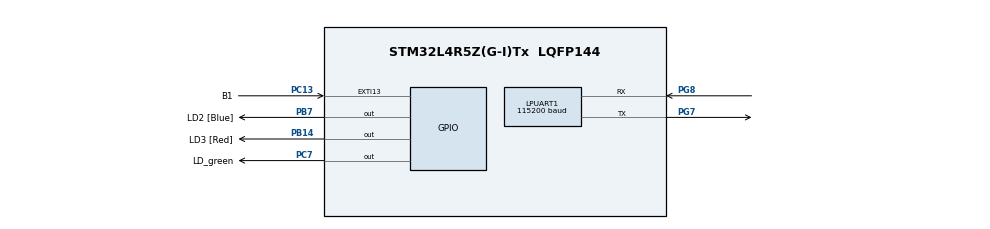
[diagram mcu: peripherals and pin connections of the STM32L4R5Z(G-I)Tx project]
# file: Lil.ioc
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Dma.LPUART1_RX.0.Direction=DMA_PERIPH_TO_MEMORY
Dma.LPUART1_RX.0.EventEnable=DISABLE
Dma.LPUART1_RX.0.Instance=DMA1_Channel1
Dma.LPUART1_RX.0.MemDataAlignment=DMA_MDATAALIGN_BYTE
Dma.LPUART1_RX.0.MemInc=DMA_MINC_ENABLE
Dma.LPUART1_RX.0.Mode=DMA_NORMAL
Dma.LPUART1_RX.0.PeriphDataAlignment=DMA_PDATAALIGN_BYTE
Dma.LPUART1_RX.0.PeriphInc=DMA_PINC_DISABLE
Dma.LPUART1_RX.0.Polarity=HAL_DMAMUX_REQUEST_GEN_RISING
Dma.LPUART1_RX.0.Priority=DMA_PRIORITY_LOW
Dma.LPUART1_RX.0.RequestNumber=1
Dma.LPUART1_RX.0.SignalID=NONE
Dma.LPUART1_RX.0.SyncEnable=DISABLE
Dma.LPUART1_RX.0.SyncPolarity=HAL_DMAMUX_SYNC_NO_EVENT
Dma.LPUART1_RX.0.SyncRequestNumber=1
Dma.LPUART1_RX.0.SyncSignalID=NONE
Dma.LPUART1_TX.1.Direction=DMA_MEMORY_TO_PERIPH
Dma.LPUART1_TX.1.EventEnable=DISABLE
Dma.LPUART1_TX.1.Instance=DMA1_Channel2
Dma.LPUART1_TX.1.MemDataAlignment=DMA_MDATAALIGN_BYTE
Dma.LPUART1_TX.1.MemInc=DMA_MINC_ENABLE
Dma.LPUART1_TX.1.Mode=DMA_NORMAL
Dma.LPUART1_TX.1.PeriphDataAlignment=DMA_PDATAALIGN_BYTE
Dma.LPUART1_TX.1.PeriphInc=DMA_PINC_DISABLE
Dma.LPUART1_TX.1.Polarity=HAL_DMAMUX_REQUEST_GEN_RISING
Dma.LPUART1_TX.1.Priority=DMA_PRIORITY_LOW
Dma.LPUART1_TX.1.RequestNumber=1
Dma.LPUART1_TX.1.SignalID=NONE
Dma.LPUART1_TX.1.SyncEnable=DISABLE
Dma.LPUART1_TX.1.SyncPolarity=HAL_DMAMUX_SYNC_NO_EVENT
Dma.LPUART1_TX.1.SyncRequestNumber=1
Dma.LPUART1_TX.1.SyncSignalID=NONE
Dma.Request0=LPUART1_RX
Dma.Request1=LPUART1_TX
LPUART1.BaudRate=115200
LPUART1.WordLength=UART_WORDLENGTH_8B
Mcu.Family=STM32L4
Mcu.Name=STM32L4R5Z(G-I)Tx
Mcu.Package=LQFP144
NVIC.DMA1_Channel1_IRQn=true\:0\:0\:false\:false\:true\:false\:true\:true
NVIC.DMA1_Channel2_IRQn=true\:0\:0\:false\:false\:true\:false\:true\:true
NVIC.LPUART1_IRQn=true\:0\:0\:false\:false\:true\:true\:true\:true
NVIC.PriorityGroup=NVIC_PRIORITYGROUP_4
PB14.GPIO_Label=LD3 [Red]
PB14.Signal=GPIO_Output
PB7.GPIO_Label=LD2 [Blue]
PB7.Signal=GPIO_Output
PC13.GPIO_Label=B1
PC13.Signal=GPXTI13
PC7.GPIO_Label=LD_green
PC7.Signal=GPIO_Output
PG7.Mode=Asynchronous
PG7.Signal=LPUART1_TX
PG8.Mode=Asynchronous
PG8.Signal=LPUART1_RX
ProjectManager.HeapSize=0x200
ProjectManager.StackSize=0x400
ProjectManager.TargetToolchain=STM32CubeIDE
RCC.HSE_VALUE=8000000
RCC.HSI48_VALUE=48000000
RCC.HSI_VALUE=16000000
RCC.LSE_VALUE=32768
RCC.MSI_VALUE=4000000
RCC.VCOOutputFreq_Value=32000000
board=custom

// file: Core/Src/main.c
/* USER CODE BEGIN Header */
/**
 ******************************************************************************
 * @file           : main.c
 * @brief          : Main program body
 ******************************************************************************
 * @attention
 *
 * Copyright (c) 2025 STMicroelectronics.
 * All rights reserved.
 *
 * This software is licensed under terms that can be found in the LICENSE file
 * in the root directory of this software component.
 * If no LICENSE file comes with this software, it is provided AS-IS.
 *
 ******************************************************************************
 */
/* USER CODE END Header */
#include "main.h"

/* USER CODE BEGIN Includes */
#include <stdbool.h>
#include <stdint.h>
#include <stdio.h>
#include <string.h>
/* USER CODE END Includes */

/* USER CODE BEGIN PTD */

typedef enum {
  STATE_INITIAL,      // Stav 1 - červená bliká 250ms, modrá 500ms
  STATE_BUTTON_TOGGLE,// Stav 2 - červená toggle, modrá bliká 100ms
  STATE_TRANSITIONAL, // Stav pro detekci dlouhého stisku
  STATE_CUSTOM_PERIOD, // Stav 4 - červená bliká s periodou podle délky stisku, modrá 100ms svítí/400ms nesvítí
  STATE_BLINK_COMMAND  // Nový stav pro příkaz BLIK
} StavAplikace;

typedef enum {
  LED_MODE_OFF,       // LED je trvale vypnutá
  LED_MODE_ON,        // LED je trvale zapnutá
  LED_MODE_BLINK,     // LED bliká s definovanou periodou
  LED_MODE_BLINK_ASYM // LED bliká s asymetrickou periodou (jen modrá ve stavu 4)
} LEDMode;

typedef struct {
  GPIO_TypeDef* port;
  uint16_t pin;
  LEDMode mode;
  uint32_t blinkPeriod;
  uint32_t lastToggleTime;
  bool state;
  uint32_t onTime;     // Doba zapnutí (pro asymetrické blikání)
  uint32_t offTime;    // Doba vypnutí (pro asymetrické blikání)
} Led;
/* USER CODE END PTD */

/* USER CODE BEGIN PD */
#define BTN_FILTER          (50)      // Filtr zákmitů tlačítka v ms
#define LONG_PRESS_DURATION (1000)    // Minimální doba pro dlouhý stisk v ms
#define UART_RX_BUFFER_SIZE (128)     // Velikost bufferu pro příjem UART
#define MAX_COMMAND_LENGTH  (20)      // Maximální délka příkazu
/* USER CODE END PD */

UART_HandleTypeDef hlpuart1;
DMA_HandleTypeDef hdma_lpuart1_rx;
DMA_HandleTypeDef hdma_lpuart1_tx;

/* USER CODE BEGIN PV */
volatile bool transmissionComplete = false;
char testString[100 + 1]; // jeden znak navic pro ukoncovaci znak
char outputBuffer[200]; // buffer pro vystupni znaky

// UART příjem
uint8_t uartRxBuffer[UART_RX_BUFFER_SIZE];
uint8_t uartRxChar;
char commandBuffer[MAX_COMMAND_LENGTH + 1];
uint8_t commandLength = 0;
volatile bool commandReady = false;

// Stav aplikace
StavAplikace currentState = STATE_INITIAL;
uint32_t buttonPressTime = 0;
uint32_t buttonReleaseTime = 0;
bool buttonPressed = false;
uint32_t lastButtonDebounceTime = 0;
bool lastButtonState = false;
uint32_t customBlinkPeriod = 500; // Výchozí perioda pro vlastní blikání

// Definice LED
Led redLed = {
  .port = LD3_GPIO_Port,
  .pin = LD3_Pin,
  .mode = LED_MODE_BLINK,
  .blinkPeriod = 250,
  .lastToggleTime = 0,
  .state = false
};

Led blueLed = {
  .port = LD2_GPIO_Port,
  .pin = LD2_Pin,
  .mode = LED_MODE_BLINK,
  .blinkPeriod = 500,
  .lastToggleTime = 0,
  .state = false,
  .onTime = 100,  // Pro asymetrické blikání
  .offTime = 400  // Pro asymetrické blikání
};

Led greenLed = {
  .port = GPIOC,
  .pin = GPIO_PIN_7,
  .mode = LED_MODE_OFF,
  .blinkPeriod = 500,
  .lastToggleTime = 0,
  .state = false
};
/* USER CODE END PV */

void SystemClock_Config(void);
static void MX_GPIO_Init(void);
static void MX_LPUART1_UART_Init(void);
static void MX_DMA_Init(void);
/* USER CODE BEGIN PFP */
void generaceStringuStoZnaku(void);
void spustTest(int mode);
void updateLed(Led* led, uint32_t currentTime);
void handleButton(uint32_t currentTime);
void sendUartMessage(const char* message);
void processCommand(void);
void startUartRxInterrupt(void);
/* USER CODE END PFP */

/* USER CODE BEGIN 0 */

// Callback function for UART transmission complete
void HAL_UART_TxCpltCallback(UART_HandleTypeDef *huart)
{
  if (huart->Instance == LPUART1) {
    transmissionComplete = true;
  }
}

// Callback function for UART reception complete
void HAL_UART_RxCpltCallback(UART_HandleTypeDef *huart)
{
  if (huart->Instance == LPUART1) {
    // Echo received character
    HAL_UART_Transmit_IT(&hlpuart1, &uartRxChar, 1);

    // Process received character
    if (uartRxChar == '\r' || uartRxChar == '\n') {
      if (commandLength > 0) {
        commandBuffer[commandLength] = '\0';
        commandReady = true;
        commandLength = 0;
      }
    } else if (commandLength < MAX_COMMAND_LENGTH) {
      commandBuffer[commandLength++] = uartRxChar;
    }

    // Start listening for next character
    HAL_UART_Receive_IT(&hlpuart1, &uartRxChar, 1);
  }
}

// Funkce pro generaci stringu o 100 znaku
void generaceStringuStoZnaku(void)
{
  const char charset[] = "ABCDEFGHIJKLMNOPQRSTUVWXYZabcdefghijklmnopqrstuvwxyz0123456789!@#$%^&*()";
  const int charsetSize = strlen(charset);

  for (int i = 0; i < 100; i++) {
    testString[i] = charset[i % charsetSize];
  }
  testString[100] = '\0'; // Null terminate

}

// Spusteni prenosoveho testu v specifickem modu
// mody: 0 = Polling, 1 = Interrupt, 2 = DMA
void spustTest(int mode)
{
  uint32_t startTime, endTime, duration;
  uint32_t blinkCount = 0;
  const char* modeStr;

  // Set mode string
  switch (mode) {
    case 0: modeStr = "Polling"; break;
    case 1: modeStr = "Interrupt"; break;
    case 2: modeStr = "DMA"; break;
    default: modeStr = "jak ses sem dostal?";
  }

  // reset flag
  transmissionComplete = false;

  // pocatek prenosu
  startTime = HAL_GetTick();

  switch (mode) {
    case 0: // Polling
      HAL_UART_Transmit(&hlpuart1, (uint8_t*)testString, 100, 1000);
      transmissionComplete = true; // nastaveno manualne, protoze se nezavola callback
      break;
    case 1: // Interrupt
      HAL_UART_Transmit_IT(&hlpuart1, (uint8_t*)testString, 100);
      break;
    case 2: // DMA
      HAL_UART_Transmit_DMA(&hlpuart1, (uint8_t*)testString, 100);
      break;
  }

  // blikani led fast a spocteni bliku
  while (!transmissionComplete) {
    HAL_GPIO_TogglePin(LD3_GPIO_Port, LD3_Pin);
    blinkCount++;
  }

  // zaznam konce
  endTime = HAL_GetTick();
  duration = endTime - startTime;

  // krasne formatovani vysledku:)
  sprintf(outputBuffer,
          "\r\nMode: %s\r\nStart time: %lu ms\r\nDuration: %lu ms\r\nBlink count: %lu\r\n",
          modeStr, startTime, duration, blinkCount);

  // Odeslani vysledku
  HAL_UART_Transmit(&hlpuart1, (uint8_t*)outputBuffer, strlen(outputBuffer), 1000);

  // delay mezi testiky
  HAL_Delay(500);
}

// Aktualizace stavu LED
void updateLed(Led* led, uint32_t currentTime)
{
  if (led->mode == LED_MODE_OFF) {
    // LED je trvale vypnutá
    if (led->state) {
      HAL_GPIO_WritePin(led->port, led->pin, GPIO_PIN_RESET);
      led->state = false;
    }
  }
  else if (led->mode == LED_MODE_ON) {
    // LED je trvale zapnutá
    if (!led->state) {
      HAL_GPIO_WritePin(led->port, led->pin, GPIO_PIN_SET);
      led->state = true;
    }
  }
  else if (led->mode == LED_MODE_BLINK) {
    // LED bliká se symetrickou periodou
    if (currentTime - led->lastToggleTime >= led->blinkPeriod / 2) {
      led->state = !led->state;
      HAL_GPIO_WritePin(led->port, led->pin, led->state ? GPIO_PIN_SET : GPIO_PIN_RESET);
      led->lastToggleTime = currentTime;
    }
  }
  else if (led->mode == LED_MODE_BLINK_ASYM) {
    // LED bliká s asymetrickou periodou
    uint32_t interval = led->state ? led->onTime : led->offTime;
    if (currentTime - led->lastToggleTime >= interval) {
      led->state = !led->state;
      HAL_GPIO_WritePin(led->port, led->pin, led->state ? GPIO_PIN_SET : GPIO_PIN_RESET);
      led->lastToggleTime = currentTime;
    }
  }
}

// Zpracování tlačítka
void handleButton(uint32_t currentTime)
{
  // Čtení stavu tlačítka
  bool currentButtonState = (HAL_GPIO_ReadPin(B1_GPIO_Port, B1_Pin) == GPIO_PIN_SET);

  // Filtr zákmitů tlačítka
  if (currentButtonState != lastButtonState) {
    lastButtonDebounceTime = currentTime;
  }

  // Pokud je stav tlačítka stabilní po dobu filtru
  if (currentTime - lastButtonDebounceTime > BTN_FILTER) {
    // Pokud se stav změnil od posledního stabilního stavu
    if (currentButtonState != buttonPressed) {
      buttonPressed = currentButtonState;

      // Stisk tlačítka
      if (buttonPressed) {
        buttonPressTime = currentTime;

        // Ve stavu 2 přepnout stav červené LED po stisku
        if (currentState == STATE_BUTTON_TOGGLE) {
          redLed.state = !redLed.state;
          HAL_GPIO_WritePin(redLed.port, redLed.pin, redLed.state ? GPIO_PIN_SET : GPIO_PIN_RESET);

          // Informace o změně stavu červené LED
          sprintf(outputBuffer, "\r\nRed LED %s\r\n", redLed.state ? "ON" : "OFF");
          sendUartMessage(outputBuffer);
        }

        // Přechod do pomocného stavu pro detekci dlouhého stisku
        if (currentState == STATE_BUTTON_TOGGLE) {
          currentState = STATE_TRANSITIONAL;

          // Informace o přechodu do přechodného stavu
          sendUartMessage("\r\nVstup do prechodoveho stavu\r\n");
        }
      }
      // Uvolnění tlačítka
      else {
        buttonReleaseTime = currentTime;
        uint32_t pressDuration = buttonReleaseTime - buttonPressTime;

        // Dlouhý stisk - přechod do stavu 4
        if (currentState == STATE_TRANSITIONAL && pressDuration >= LONG_PRESS_DURATION) {
          currentState = STATE_CUSTOM_PERIOD;
          customBlinkPeriod = pressDuration;
          redLed.mode = LED_MODE_BLINK;
          redLed.blinkPeriod = customBlinkPeriod;
          blueLed.mode = LED_MODE_BLINK_ASYM;

          // Informace o přechodu do stavu 4
          sprintf(outputBuffer, "\r\n Stav vlastni delky periody. Delka periody: %lu ms\r\n", customBlinkPeriod);
          sendUartMessage(outputBuffer);
        }
        // Krátký stisk - návrat do stavu 2
        else if (currentState == STATE_TRANSITIONAL) {
          currentState = STATE_BUTTON_TOGGLE;

          // Informace o návratu do stavu 2
          sendUartMessage("\r\nVraceno do stavu klikani tlacitka\r\n");
        }
        // Ve stavu 4 - nastavení nové periody blikání červené LED
        else if (currentState == STATE_CUSTOM_PERIOD) {
          customBlinkPeriod = pressDuration;
          redLed.blinkPeriod = customBlinkPeriod;

          // Informace o nové periodě blikání
          sprintf(outputBuffer, "\r\nNova perioda blikani: %lu ms\r\n", customBlinkPeriod);
          sendUartMessage(outputBuffer);
        }
        // Ve stavu 1 - přechod do stavu 2
        else if (currentState == STATE_INITIAL) {
          currentState = STATE_BUTTON_TOGGLE;
          redLed.mode = LED_MODE_OFF;
          blueLed.mode = LED_MODE_BLINK;
          blueLed.blinkPeriod = 200; // 100ms perioda (50ms on, 50ms off)

          // Informace o přechodu do stavu 2
          sendUartMessage("\r\nVstup do stavu klikani tlacitka\r\n");
        }
      }
    }
  }

  // Uložení posledního stavu tlačítka
  lastButtonState = currentButtonState;
}

// Odeslání zprávy přes UART
void sendUartMessage(const char* message)
{
  HAL_UART_Transmit(&hlpuart1, (uint8_t*)message, strlen(message), 1000);
}

// Nastavení UART přerušení pro příjem
void startUartRxInterrupt(void)
{
  HAL_UART_Receive_IT(&hlpuart1, &uartRxChar, 1);
}

// Zpracování přijatého příkazu
void processCommand(void)
{
  // Konvertovat příkaz na velká písmena pro snadnější porovnání
  char upperCommand[MAX_COMMAND_LENGTH + 1];
  strcpy(upperCommand, commandBuffer);
  for (int i = 0; upperCommand[i]; i++) {
    if (upperCommand[i] >= 'a' && upperCommand[i] <= 'z') {
      upperCommand[i] = upperCommand[i] - 'a' + 'A';
    }
  }

  // Příkaz pro rozsvícení červené LED
  if (strcmp(upperCommand, "RON") == 0) {
    redLed.mode = LED_MODE_ON;
    sprintf(outputBuffer, "\r\nCommand: %s - Cervena LED ON\r\n", commandBuffer);
    sendUartMessage(outputBuffer);
  }
  // Příkaz pro rozsvícení modré LED
  else if (strcmp(upperCommand, "BON") == 0) {
    blueLed.mode = LED_MODE_ON;
    sprintf(outputBuffer, "\r\nCommand: %s - Modra LED ON\r\n", commandBuffer);
    sendUartMessage(outputBuffer);
  }
  // Příkaz pro rozsvícení zelené LED
  else if (strcmp(upperCommand, "GON") == 0) {
    greenLed.mode = LED_MODE_ON;
    sprintf(outputBuffer, "\r\nCommand: %s - Zelena LED ON\r\n", commandBuffer);
    sendUartMessage(outputBuffer);
  }
  // Příkaz pro zhasnutí červené LED
  else if (strcmp(upperCommand, "ROFF") == 0) {
    redLed.mode = LED_MODE_OFF;
    sprintf(outputBuffer, "\r\nCommand: %s - Cervena LED OFF\r\n", commandBuffer);
    sendUartMessage(outputBuffer);
  }
  // Příkaz pro zhasnutí modré LED
  else if (strcmp(upperCommand, "BOFF") == 0) {
    blueLed.mode = LED_MODE_OFF;
    sprintf(outputBuffer, "\r\nCommand: %s - Modra LED OFF\r\n", commandBuffer);
    sendUartMessage(outputBuffer);
  }
  // Příkaz pro zhasnutí zelené LED
  else if (strcmp(upperCommand, "GOFF") == 0) {
    greenLed.mode = LED_MODE_OFF;
    sprintf(outputBuffer, "\r\nCommand: %s - Zelena LED OFF\r\n", commandBuffer);
    sendUartMessage(outputBuffer);
  }
  // Příkaz pro reset do stavu 1
  else if (strcmp(upperCommand, "RESET") == 0) {
    currentState = STATE_INITIAL;
    redLed.mode = LED_MODE_BLINK;
    redLed.blinkPeriod = 250;
    blueLed.mode = LED_MODE_BLINK;
    blueLed.blinkPeriod = 500;
    greenLed.mode = LED_MODE_OFF;

    sprintf(outputBuffer, "\r\nPrikaz: %s - reset to inicialniho stavu\r\n", commandBuffer);
    sendUartMessage(outputBuffer);
  }
  // Příkaz pro blikání s definovanou periodou
  else if (strncmp(upperCommand, "BLIK ", 5) == 0) {
    int period = atoi(&upperCommand[5]);
    if (period > 0) {
      redLed.mode = LED_MODE_BLINK;
      redLed.blinkPeriod = period;
      blueLed.mode = LED_MODE_BLINK;
      blueLed.blinkPeriod = period;
      greenLed.mode = LED_MODE_BLINK;
      greenLed.blinkPeriod = period;
      currentState = STATE_BLINK_COMMAND;  // Nastavit nový stav

      sprintf(outputBuffer, "\r\nCommand: %s - Vsechny LED blikaji s periodou: %d ms\r\n", commandBuffer, period);
      sendUartMessage(outputBuffer);
    } else {
      sprintf(outputBuffer, "\r\nError: Spatna perioda v prikazu '%s'\r\n", commandBuffer);
      sendUartMessage(outputBuffer);
    }
  }
  // Neznámý příkaz
  else {
    sprintf(outputBuffer, "\r\nError: Neznamy prikaz: '%s'\r\n", commandBuffer);
    sendUartMessage(outputBuffer);
  }
}

/* USER CODE END 0 */

int main(void)
{

  /* MCU Configuration--------------------------------------------------------*/

  /* Reset of all peripherals, Initializes the Flash interface and the Systick. */
  HAL_Init();

  /* Configure the system clock */
  SystemClock_Config();

  /* Initialize all configured peripherals */
  MX_GPIO_Init();
  MX_DMA_Init();
  MX_LPUART1_UART_Init();
  /* USER CODE BEGIN 2 */

  // Nastavení pinů pro zelenou LED (PC7)
  GPIO_InitTypeDef GPIO_InitStruct = {0};
  __HAL_RCC_GPIOC_CLK_ENABLE();
  GPIO_InitStruct.Pin = GPIO_PIN_7;
  GPIO_InitStruct.Mode = GPIO_MODE_OUTPUT_PP;
  GPIO_InitStruct.Pull = GPIO_NOPULL;
  GPIO_InitStruct.Speed = GPIO_SPEED_FREQ_LOW;
  HAL_GPIO_Init(GPIOC, &GPIO_InitStruct);

  // Nastartování příjmu UART přes přerušení
  startUartRxInterrupt();

  // Zaslání start zprávy
  sendUartMessage("\r\n--- LED ovladaci system ---\r\n");
  sendUartMessage("Dostupne prikazy:\r\n");
  sendUartMessage("RON, BON, GON - Zapnuti  Cervene / Modre / Zelene LED\r\n");
  sendUartMessage("ROFF, BOFF, GOFF - Vypnuti  Cervene / Modre / Zelene LED\r\n");
  sendUartMessage("RESET - Reset na pocatecni stav\r\n");
  sendUartMessage("BLIK n - Vsechny LED blikaji s periodou \"n\" \r\n");

  /* USER CODE END 2 */

  /* Infinite loop */
  /* USER CODE BEGIN WHILE */
  while (1)
  {
    uint32_t currentTime = HAL_GetTick();

    // Zpracování příkazů
    if (commandReady) {
      processCommand();
      commandReady = false;
    }

    // Zpracování tlačítka
    handleButton(currentTime);

    // Aktualizace stavu LED diod

    // Červená LED - chování podle aktuálního stavu
    if (currentState != STATE_BLINK_COMMAND) {
      if (currentState == STATE_INITIAL) {
        // Ve stavu 1 bliká s periodou 250ms
        if (redLed.mode != LED_MODE_ON && redLed.mode != LED_MODE_OFF) {
          redLed.mode = LED_MODE_BLINK;
          redLed.blinkPeriod = 250;
        }
      } else if (currentState == STATE_BUTTON_TOGGLE) {
        // Ve stavu 2 je ovládána tlačítkem
        if (redLed.mode != LED_MODE_ON && redLed.mode != LED_MODE_OFF) {
          redLed.mode = LED_MODE_OFF; // Základní stav, přepínán tlačítkem
        }
      } else if (currentState == STATE_CUSTOM_PERIOD) {
        // Ve stavu 4 bliká s periodou podle délky stisku
        if (redLed.mode != LED_MODE_ON && redLed.mode != LED_MODE_OFF) {
          redLed.mode = LED_MODE_BLINK;
          redLed.blinkPeriod = customBlinkPeriod;
        }
      }
    }

    // Modrá LED - chování podle aktuálního stavu
    if (currentState != STATE_BLINK_COMMAND) {
      if (currentState == STATE_INITIAL) {
        // Ve stavu 1 bliká s periodou 500ms
        if (blueLed.mode != LED_MODE_ON && blueLed.mode != LED_MODE_OFF) {
          blueLed.mode = LED_MODE_BLINK;
          blueLed.blinkPeriod = 500;
        }
      } else if (currentState == STATE_BUTTON_TOGGLE || currentState == STATE_TRANSITIONAL) {
        // Ve stavu 2 a přechodném stavu bliká s periodou 100ms
        if (blueLed.mode != LED_MODE_ON && blueLed.mode != LED_MODE_OFF) {
          blueLed.mode = LED_MODE_BLINK;
          blueLed.blinkPeriod = 200; // 100ms perioda (50ms on, 50ms off)
        }
      } else if (currentState == STATE_CUSTOM_PERIOD) {
        // Ve stavu 4 bliká asynchronně 100ms svítí/400ms nesvítí
        if (blueLed.mode != LED_MODE_ON && blueLed.mode != LED_MODE_OFF) {
          blueLed.mode = LED_MODE_BLINK_ASYM;
          blueLed.onTime = 100;
          blueLed.offTime = 400;
        }
      }
    }

    // Aktualizace stavu jednotlivých LED
    updateLed(&redLed, currentTime);
    updateLed(&blueLed, currentTime);
    updateLed(&greenLed, currentTime);

    /* USER CODE END WHILE */

  }
}

void SystemClock_Config(void)
{
  RCC_OscInitTypeDef RCC_OscInitStruct = {0};
  RCC_ClkInitTypeDef RCC_ClkInitStruct = {0};

  /** Configure the main internal regulator output voltage
  */
  if (HAL_PWREx_ControlVoltageScaling(PWR_REGULATOR_VOLTAGE_SCALE1) != HAL_OK)
  {
    Error_Handler();
  }
  /** Initializes the RCC Oscillators according to the specified parameters
  * in the RCC_OscInitTypeDef structure.
  */
  RCC_OscInitStruct.OscillatorType = RCC_OSCILLATORTYPE_MSI;
  RCC_OscInitStruct.MSIState = RCC_MSI_ON;
  RCC_OscInitStruct.MSICalibrationValue = 0;
  RCC_OscInitStruct.MSIClockRange = RCC_MSIRANGE_6;
  RCC_OscInitStruct.PLL.PLLState = RCC_PLL_NONE;
  if (HAL_RCC_OscConfig(&RCC_OscInitStruct) != HAL_OK)
  {
    Error_Handler();
  }
  /** Initializes the CPU, AHB and APB buses clocks
  */
  RCC_ClkInitStruct.ClockType = RCC_CLOCKTYPE_HCLK|RCC_CLOCKTYPE_SYSCLK
                              |RCC_CLOCKTYPE_PCLK1|RCC_CLOCKTYPE_PCLK2;
  RCC_ClkInitStruct.SYSCLKSource = RCC_SYSCLKSOURCE_MSI;
  RCC_ClkInitStruct.AHBCLKDivider = RCC_SYSCLK_DIV1;
  RCC_ClkInitStruct.APB1CLKDivider = RCC_HCLK_DIV1;
  RCC_ClkInitStruct.APB2CLKDivider = RCC_HCLK_DIV1;

  if (HAL_RCC_ClockConfig(&RCC_ClkInitStruct, FLASH_LATENCY_0) != HAL_OK)
  {
    Error_Handler();
  }
}

static void MX_LPUART1_UART_Init(void)
{

  hlpuart1.Instance = LPUART1;
  hlpuart1.Init.BaudRate = 115200;
  hlpuart1.Init.WordLength = UART_WORDLENGTH_8B;
  hlpuart1.Init.StopBits = UART_STOPBITS_1;
  hlpuart1.Init.Parity = UART_PARITY_NONE;
  hlpuart1.Init.Mode = UART_MODE_TX_RX;
  hlpuart1.Init.HwFlowCtl = UART_HWCONTROL_NONE;
  hlpuart1.Init.OneBitSampling = UART_ONE_BIT_SAMPLE_DISABLE;
  hlpuart1.Init.ClockPrescaler = UART_PRESCALER_DIV1;
  hlpuart1.AdvancedInit.AdvFeatureInit = UART_ADVFEATURE_NO_INIT;
  hlpuart1.FifoMode = UART_FIFOMODE_DISABLE;
  if (HAL_UART_Init(&hlpuart1) != HAL_OK)
  {
    Error_Handler();
  }
  if (HAL_UARTEx_SetTxFifoThreshold(&hlpuart1, UART_TXFIFO_THRESHOLD_1_8) != HAL_OK)
  {
    Error_Handler();
  }
  if (HAL_UARTEx_SetRxFifoThreshold(&hlpuart1, UART_RXFIFO_THRESHOLD_1_8) != HAL_OK)
  {
    Error_Handler();
  }
  if (HAL_UARTEx_DisableFifoMode(&hlpuart1) != HAL_OK)
  {
    Error_Handler();
  }

}

static void MX_DMA_Init(void)
{

  /* DMA controller clock enable */
  __HAL_RCC_DMAMUX1_CLK_ENABLE();
  __HAL_RCC_DMA1_CLK_ENABLE();

  /* DMA interrupt init */
  /* DMA1_Channel1_IRQn interrupt configuration */
  HAL_NVIC_SetPriority(DMA1_Channel1_IRQn, 0, 0);
  HAL_NVIC_EnableIRQ(DMA1_Channel1_IRQn);
  /* DMA1_Channel2_IRQn interrupt configuration */
  HAL_NVIC_SetPriority(DMA1_Channel2_IRQn, 0, 0);
  HAL_NVIC_EnableIRQ(DMA1_Channel2_IRQn);

}

static void MX_GPIO_Init(void)
{
  GPIO_InitTypeDef GPIO_InitStruct = {0};

  /* GPIO Ports Clock Enable */
  __HAL_RCC_GPIOC_CLK_ENABLE();
  __HAL_RCC_GPIOB_CLK_ENABLE();
  __HAL_RCC_GPIOG_CLK_ENABLE();
  HAL_PWREx_EnableVddIO2();

  /*Configure GPIO pin Output Level */
  HAL_GPIO_WritePin(GPIOB, LD3_Pin|LD2_Pin, GPIO_PIN_RESET);

  /*Configure GPIO pin : B1_Pin */
  GPIO_InitStruct.Pin = B1_Pin;
  GPIO_InitStruct.Mode = GPIO_MODE_IT_RISING;
  GPIO_InitStruct.Pull = GPIO_NOPULL;
  HAL_GPIO_Init(B1_GPIO_Port, &GPIO_InitStruct);

  /*Configure GPIO pins : LD3_Pin LD2_Pin */
  GPIO_InitStruct.Pin = LD3_Pin|LD2_Pin;
  GPIO_InitStruct.Mode = GPIO_MODE_OUTPUT_PP;
  GPIO_InitStruct.Pull = GPIO_NOPULL;
  GPIO_InitStruct.Speed = GPIO_SPEED_FREQ_LOW;
  HAL_GPIO_Init(GPIOB, &GPIO_InitStruct);

}

void Error_Handler(void)
{
	__disable_irq();
	while (1) {
	}
}
